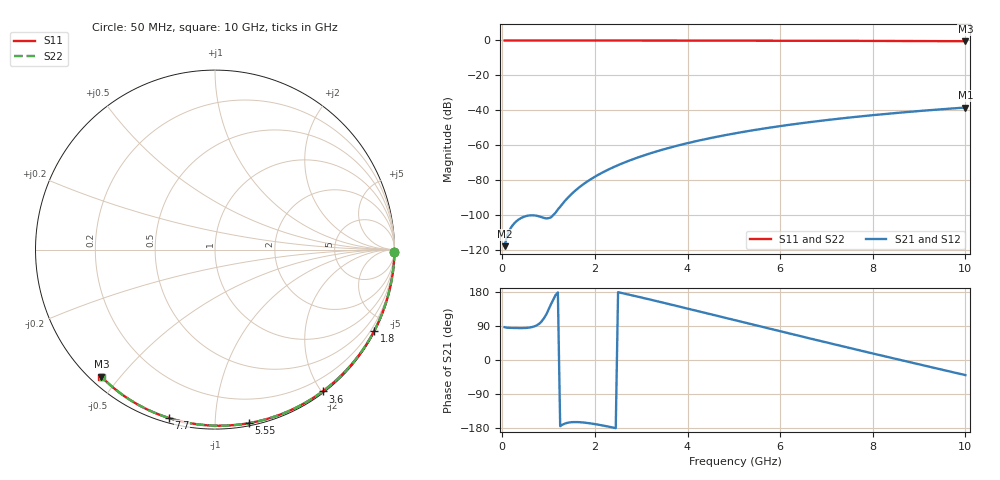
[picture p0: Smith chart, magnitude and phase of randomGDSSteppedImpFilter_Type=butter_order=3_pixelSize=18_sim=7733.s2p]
! freq	dB(S11)	phase(S11)	dB(S12)	phase(S12)
!  dB(S21)	phase(S21)	dB(S22)	phase(S22)
!S-par simulation data
#  GHz  S  DB  R 50
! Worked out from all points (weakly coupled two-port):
!   200 points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, 50 MHz to 10 GHz, reference 50 ohm
!   highest |S21| = -38.39 dB at 10 GHz (marker M1); lowest = -117.8 dB at 50 MHz (marker M2)
!   lowest |S11| = -0.4 dB at 10 GHz (marker M3), VSWR 39.05, Z = 1.54 - j22.4 ohm
!   |S11| at or under -10 dB: nowhere
!   |S22| runs from -0.4 to 0.0 dB; largest |S21 - S12| = 0
!   S11 on the Smith chart (normalised r, x): 50 MHz: open; 1.8 GHz: 0.04, -4.16; 3.6 GHz: 0.02, -2.01; 5.55 GHz: 0.02, -1.22; 7.7 GHz: 0.02, -0.76; 10 GHz: 0.03, -0.45
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0.05  -0.00 -0.8  -117.76 86.6  -117.76 86.6  -0.00 -0.8
0.9  -0.02 -13.6  -101.59 110.4  -101.59 110.4  -0.02 -13.6
1.75  -0.03 -26.3  -82.30 -164.9  -82.30 -164.9  -0.03 -26.2
1.8  -0.03 -27.0  -81.36 -165.6  -81.36 -165.6  -0.03 -27.0
1.85  -0.04 -27.7  -80.47 -166.3  -80.47 -166.3  -0.04 -27.7
1.9  -0.04 -28.5  -79.61 -167.2  -79.61 -167.2  -0.04 -28.5
2.05  -0.04 -30.7  -77.23 -170.2  -77.23 -170.2  -0.04 -30.6
2.25  -0.04 -33.6  -74.42 -174.8  -74.42 -174.8  -0.04 -33.6
2.45  -0.05 -36.5  -71.94 -179.8  -71.94 -179.8  -0.05 -36.5
2.65  -0.05 -39.4  -69.72 174.8  -69.72 174.8  -0.05 -39.3
3  -0.06 -44.4  -66.31 165.0  -66.31 165.0  -0.06 -44.3
3.4  -0.07 -50.0  -62.97 153.5  -62.97 153.5  -0.07 -50.0
3.6  -0.07 -52.8  -61.48 147.6  -61.48 147.6  -0.07 -52.8
4.3  -0.09 -62.4  -56.97 126.7  -56.97 126.7  -0.09 -62.3
5.05  -0.11 -72.4  -53.05 104.3  -53.05 104.3  -0.11 -72.3
5.55  -0.13 -78.9  -50.82 89.3  -50.82 89.3  -0.13 -78.8
6.1  -0.15 -85.8  -48.65 72.9  -48.65 72.9  -0.15 -85.8
6.7  -0.18 -93.3  -46.55 55.2  -46.55 55.2  -0.18 -93.2
7.7  -0.24 -105.3  -43.56 25.9  -43.56 25.9  -0.24 -105.2
8.35  -0.29 -112.9  -41.89 7.1  -41.89 7.1  -0.29 -112.8
9.15  -0.36 -122.1  -40.08 -15.7  -40.08 -15.7  -0.36 -122.0
10  -0.44 -131.8  -38.39 -39.9  -38.39 -39.9  -0.45 -131.7
